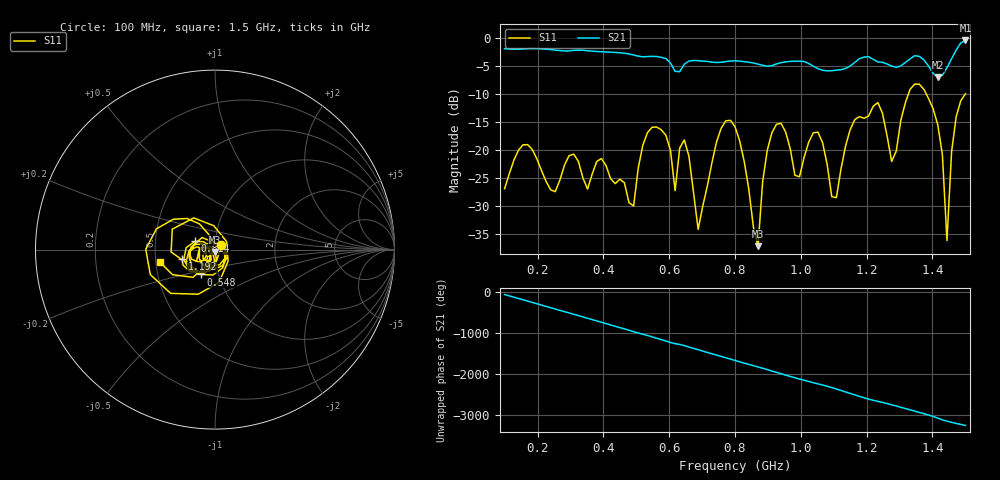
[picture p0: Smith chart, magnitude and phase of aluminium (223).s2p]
! NanoVNA-App
! Date: 2025-09-25 14:57:01
! Start: 100MHz Stop: 1,5GHz Points: 101
! S-Parameter data: F S11 S21 S12 S22
# Hz S RI R 50
!  Frequency  S11_Real  S11_Imag  S21_Real  S21_Imag  S12_Real  S12_Imag  S22_Real  S22_Imag
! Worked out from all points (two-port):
!   101 points, 100 MHz to 1.5 GHz, reference 50 ohm
!   highest |S21| = -0.45 dB at 1.5 GHz (marker M1); lowest = -7.1 dB at 1.416 GHz (marker M2)
!   |S21| within 3 dB of the highest: start of sweep to 574.8 MHz; 1.46 GHz to end of sweep (the widest 2 of 4)
!   lowest |S11| = -37.2 dB at 870 MHz (marker M3), VSWR 1.03, Z = 49.9 - j1.36 ohm
!   |S11| at or under -10 dB: start of sweep to 1.327 GHz; 1.381 GHz to 1.5 GHz (119.2 MHz wide, 8.27 % of centre)
!   S12 and S22 are empty: the file has one direction only
!   S11 on the Smith chart (normalised r, x): 100 MHz: 1.07, +0.06; 548 MHz: 0.82, -0.23; 814 MHz: 0.80, +0.07; 1.192 GHz: 0.69, -0.08; 1.5 GHz: 0.52, -0.08
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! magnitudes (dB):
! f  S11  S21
! 100 MHz  -27.0  -1.9
! 338 MHz  -25.1  -2.2
! 492 MHz  -30.1  -3.1
! 548 MHz  -16.0  -3.3
! 576 MHz  -16.4  -3.5
! 618 MHz  -27.3  -6.0
! 646 MHz  -18.2  -4.7
! 688 MHz  -34.2  -4.1
! 800 MHz  -15.9  -4.1
! 814 MHz  -18.4  -4.1
! 870 MHz  -37.2  -4.7
! 912 MHz  -17.0  -5.0
! 996 MHz  -24.8  -4.2
! 1.038 GHz  -17.0  -5.1
! 1.108 GHz  -28.6  -5.8
! 1.192 GHz  -14.4  -3.4
! 1.276 GHz  -22.1  -5.0
! 1.346 GHz  -8.3  -3.2
! 1.416 GHz  -15.5  -7.1
! 1.444 GHz  -36.2  -5.3
! 1.458 GHz  -20.4  -3.7
! 1.5 GHz  -10.0  -0.5
